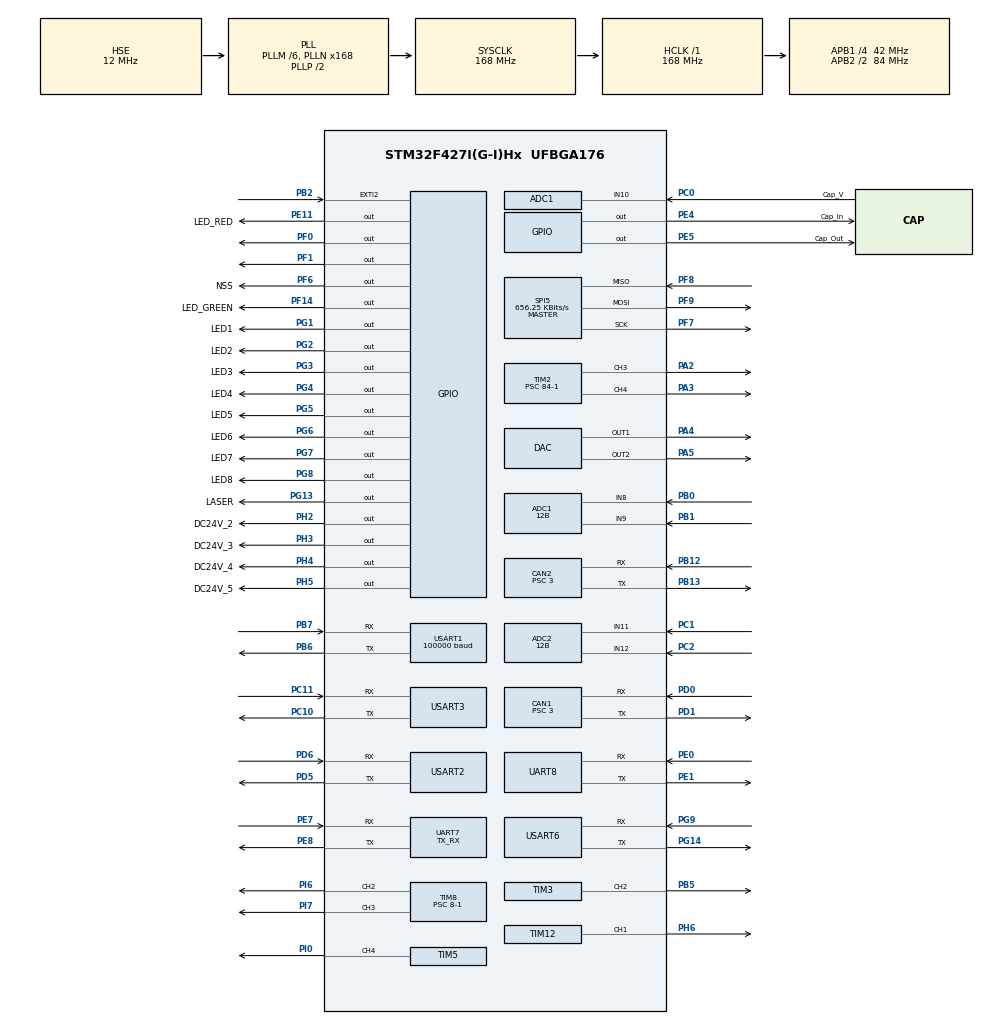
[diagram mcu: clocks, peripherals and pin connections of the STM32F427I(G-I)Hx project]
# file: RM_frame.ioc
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ADC1.Channel-0\#ChannelRegularConversion=ADC_CHANNEL_VREFINT
ADC1.Channel-1\#ChannelRegularConversion=ADC_CHANNEL_8
ADC1.Channel-2\#ChannelRegularConversion=ADC_CHANNEL_9
ADC1.Channel-3\#ChannelRegularConversion=ADC_CHANNEL_10
ADC1.ClockPrescaler=ADC_CLOCK_SYNC_PCLK_DIV4
ADC1.ContinuousConvMode=ENABLE
ADC1.DMAContinuousRequests=ENABLE
ADC1.DataAlign=ADC_DATAALIGN_RIGHT
ADC1.DiscontinuousConvMode=DISABLE
ADC1.EOCSelection=ADC_EOC_SINGLE_CONV
ADC1.EnableAnalogWatchDog=false
ADC1.ExternalTrigConv=ADC_SOFTWARE_START
ADC1.ExternalTrigConvEdge=ADC_EXTERNALTRIGCONVEDGE_NONE
ADC1.InjNumberOfConversion=0
ADC1.NbrOfConversion=4
ADC1.NbrOfConversionFlag=1
ADC1.Rank-0\#ChannelRegularConversion=1
ADC1.Rank-1\#ChannelRegularConversion=2
ADC1.Rank-2\#ChannelRegularConversion=3
ADC1.Rank-3\#ChannelRegularConversion=4
ADC1.Resolution=ADC_RESOLUTION_12B
ADC1.SamplingTime-0\#ChannelRegularConversion=ADC_SAMPLETIME_56CYCLES
ADC1.SamplingTime-1\#ChannelRegularConversion=ADC_SAMPLETIME_56CYCLES
ADC1.SamplingTime-2\#ChannelRegularConversion=ADC_SAMPLETIME_56CYCLES
ADC1.SamplingTime-3\#ChannelRegularConversion=ADC_SAMPLETIME_56CYCLES
ADC1.ScanConvMode=ENABLE
ADC1.master=1
ADC2.Channel-4\#ChannelRegularConversion=ADC_CHANNEL_12
ADC2.Channel-5\#ChannelRegularConversion=ADC_CHANNEL_11
ADC2.ClockPrescaler=ADC_CLOCK_SYNC_PCLK_DIV4
ADC2.ContinuousConvMode=ENABLE
ADC2.DMAContinuousRequests=ENABLE
ADC2.DataAlign=ADC_DATAALIGN_RIGHT
ADC2.DiscontinuousConvMode=DISABLE
ADC2.EOCSelection=ADC_EOC_SINGLE_CONV
ADC2.EnableAnalogWatchDog=false
ADC2.ExternalTrigConv=ADC_SOFTWARE_START
ADC2.ExternalTrigConvEdge=ADC_EXTERNALTRIGCONVEDGE_NONE
ADC2.InjNumberOfConversion=0
ADC2.NbrOfConversion=2
ADC2.NbrOfConversionFlag=1
ADC2.Rank-4\#ChannelRegularConversion=1
ADC2.Rank-5\#ChannelRegularConversion=2
ADC2.Resolution=ADC_RESOLUTION_12B
ADC2.SamplingTime-4\#ChannelRegularConversion=ADC_SAMPLETIME_3CYCLES
ADC2.SamplingTime-5\#ChannelRegularConversion=ADC_SAMPLETIME_3CYCLES
ADC2.ScanConvMode=ENABLE
CAN1.BS1=CAN_BS1_9TQ
CAN1.BS2=CAN_BS2_4TQ
CAN1.CalculateTimeBit=1000
CAN1.CalculateTimeQuantum=71.42857142857143
CAN1.Prescaler=3
CAN2.BS1=CAN_BS1_9TQ
CAN2.BS2=CAN_BS2_4TQ
CAN2.CalculateTimeBit=1000
CAN2.CalculateTimeQuantum=71.42857142857143
CAN2.Prescaler=3
Dma.ADC1.6.Direction=DMA_PERIPH_TO_MEMORY
Dma.ADC1.6.FIFOMode=DMA_FIFOMODE_DISABLE
Dma.ADC1.6.Instance=DMA2_Stream0
Dma.ADC1.6.MemDataAlignment=DMA_MDATAALIGN_HALFWORD
Dma.ADC1.6.MemInc=DMA_MINC_ENABLE
Dma.ADC1.6.Mode=DMA_CIRCULAR
Dma.ADC1.6.PeriphDataAlignment=DMA_PDATAALIGN_HALFWORD
Dma.ADC1.6.PeriphInc=DMA_PINC_DISABLE
Dma.ADC1.6.Priority=DMA_PRIORITY_LOW
Dma.ADC2.5.Direction=DMA_PERIPH_TO_MEMORY
Dma.ADC2.5.FIFOMode=DMA_FIFOMODE_DISABLE
Dma.ADC2.5.Instance=DMA2_Stream3
Dma.ADC2.5.MemDataAlignment=DMA_MDATAALIGN_WORD
Dma.ADC2.5.MemInc=DMA_MINC_ENABLE
Dma.ADC2.5.Mode=DMA_CIRCULAR
Dma.ADC2.5.PeriphDataAlignment=DMA_PDATAALIGN_WORD
Dma.ADC2.5.PeriphInc=DMA_PINC_DISABLE
Dma.ADC2.5.Priority=DMA_PRIORITY_LOW
Dma.Request0=USART3_RX
Dma.Request1=USART2_RX
Dma.Request2=USART6_RX
Dma.Request3=USART6_TX
Dma.Request4=USART1_RX
Dma.Request5=ADC2
Dma.Request6=ADC1
Dma.USART1_RX.4.Direction=DMA_PERIPH_TO_MEMORY
Dma.USART1_RX.4.FIFOMode=DMA_FIFOMODE_DISABLE
Dma.USART1_RX.4.Instance=DMA2_Stream2
Dma.USART1_RX.4.MemDataAlignment=DMA_MDATAALIGN_BYTE
Dma.USART1_RX.4.MemInc=DMA_MINC_ENABLE
Dma.USART1_RX.4.Mode=DMA_NORMAL
Dma.USART1_RX.4.PeriphDataAlignment=DMA_PDATAALIGN_BYTE
Dma.USART1_RX.4.PeriphInc=DMA_PINC_DISABLE
Dma.USART1_RX.4.Priority=DMA_PRIORITY_LOW
Dma.USART2_RX.1.Direction=DMA_PERIPH_TO_MEMORY
Dma.USART2_RX.1.FIFOMode=DMA_FIFOMODE_DISABLE
Dma.USART2_RX.1.Instance=DMA1_Stream5
Dma.USART2_RX.1.MemDataAlignment=DMA_MDATAALIGN_BYTE
Dma.USART2_RX.1.MemInc=DMA_MINC_ENABLE
Dma.USART2_RX.1.Mode=DMA_NORMAL
Dma.USART2_RX.1.PeriphDataAlignment=DMA_PDATAALIGN_BYTE
Dma.USART2_RX.1.PeriphInc=DMA_PINC_DISABLE
Dma.USART2_RX.1.Priority=DMA_PRIORITY_LOW
Dma.USART3_RX.0.Direction=DMA_PERIPH_TO_MEMORY
Dma.USART3_RX.0.FIFOMode=DMA_FIFOMODE_DISABLE
Dma.USART3_RX.0.Instance=DMA1_Stream1
Dma.USART3_RX.0.MemDataAlignment=DMA_MDATAALIGN_BYTE
Dma.USART3_RX.0.MemInc=DMA_MINC_ENABLE
Dma.USART3_RX.0.Mode=DMA_NORMAL
Dma.USART3_RX.0.PeriphDataAlignment=DMA_PDATAALIGN_BYTE
Dma.USART3_RX.0.PeriphInc=DMA_PINC_DISABLE
Dma.USART3_RX.0.Priority=DMA_PRIORITY_LOW
Dma.USART6_RX.2.Direction=DMA_PERIPH_TO_MEMORY
Dma.USART6_RX.2.FIFOMode=DMA_FIFOMODE_DISABLE
Dma.USART6_RX.2.Instance=DMA2_Stream1
Dma.USART6_RX.2.MemDataAlignment=DMA_MDATAALIGN_BYTE
Dma.USART6_RX.2.MemInc=DMA_MINC_ENABLE
Dma.USART6_RX.2.Mode=DMA_NORMAL
Dma.USART6_RX.2.PeriphDataAlignment=DMA_PDATAALIGN_BYTE
Dma.USART6_RX.2.PeriphInc=DMA_PINC_DISABLE
Dma.USART6_RX.2.Priority=DMA_PRIORITY_LOW
Dma.USART6_TX.3.Direction=DMA_MEMORY_TO_PERIPH
Dma.USART6_TX.3.FIFOMode=DMA_FIFOMODE_DISABLE
Dma.USART6_TX.3.Instance=DMA2_Stream6
Dma.USART6_TX.3.MemDataAlignment=DMA_MDATAALIGN_BYTE
Dma.USART6_TX.3.MemInc=DMA_MINC_ENABLE
Dma.USART6_TX.3.Mode=DMA_NORMAL
Dma.USART6_TX.3.PeriphDataAlignment=DMA_PDATAALIGN_BYTE
Dma.USART6_TX.3.PeriphInc=DMA_PINC_DISABLE
Dma.USART6_TX.3.Priority=DMA_PRIORITY_LOW
IWDG.Prescaler=IWDG_PRESCALER_32
IWDG.Reload=1000
Mcu.Family=STM32F4
Mcu.Name=STM32F427I(G-I)Hx
Mcu.Package=UFBGA176
NVIC.ADC_IRQn=true\:0\:0\:false\:false\:true\:true\:true
NVIC.CAN1_RX0_IRQn=true\:0\:0\:true\:false\:true\:true\:true
NVIC.CAN1_TX_IRQn=true\:0\:0\:true\:false\:true\:true\:true
NVIC.CAN2_RX0_IRQn=true\:1\:0\:true\:false\:true\:true\:true
NVIC.CAN2_TX_IRQn=true\:2\:0\:true\:false\:true\:true\:true
NVIC.DMA1_Stream1_IRQn=true\:0\:0\:false\:false\:true\:false\:true
NVIC.DMA1_Stream5_IRQn=true\:0\:0\:false\:false\:true\:false\:true
NVIC.DMA2_Stream0_IRQn=true\:0\:0\:false\:false\:true\:false\:true
NVIC.DMA2_Stream1_IRQn=true\:0\:0\:false\:false\:true\:false\:true
NVIC.DMA2_Stream2_IRQn=true\:0\:0\:false\:false\:true\:false\:true
NVIC.DMA2_Stream3_IRQn=true\:0\:0\:false\:false\:true\:false\:true
NVIC.DMA2_Stream6_IRQn=true\:0\:0\:false\:false\:true\:false\:true
NVIC.EXTI2_IRQn=true\:0\:0\:false\:false\:true\:true\:true
NVIC.PriorityGroup=NVIC_PRIORITYGROUP_4
NVIC.TIM1_UP_TIM10_IRQn=true\:4\:0\:true\:false\:true\:true\:true
NVIC.TIM6_DAC_IRQn=true\:3\:0\:true\:false\:true\:true\:true
NVIC.TIM7_IRQn=true\:0\:0\:true\:false\:true\:true\:true
NVIC.UART7_IRQn=true\:4\:0\:true\:false\:true\:true\:true
NVIC.UART8_IRQn=true\:4\:0\:true\:false\:true\:true\:true
NVIC.USART1_IRQn=true\:0\:0\:true\:false\:true\:true\:true
NVIC.USART2_IRQn=true\:0\:0\:false\:false\:true\:true\:true
NVIC.USART3_IRQn=true\:0\:0\:false\:false\:true\:true\:true
NVIC.USART6_IRQn=true\:1\:0\:true\:false\:true\:true\:true
PA1.Signal=ADCx_IN1
PA2.Signal=S_TIM2_CH3
PA3.Signal=S_TIM2_CH4
PA4.Signal=COMP_DAC1_group
PA5.Signal=COMP_DAC2_group
PB0.Signal=ADCx_IN8
PB1.Signal=ADCx_IN9
PB12.Mode=Slave
PB12.Signal=CAN2_RX
PB13.Mode=Slave
PB13.Signal=CAN2_TX
PB2/BOOT1.Signal=GPXTI2
PB5.Signal=S_TIM3_CH2
PB6.Mode=Asynchronous
PB6.Signal=USART1_TX
PB7.Mode=Asynchronous
PB7.Signal=USART1_RX
PC0.GPIO_Label=Cap_V
PC0.Signal=ADCx_IN10
PC1.Signal=ADCx_IN11
PC10.Mode=Asynchronous
PC10.Signal=USART3_TX
PC11.Mode=Asynchronous
PC11.Signal=USART3_RX
PC14/OSC32_IN.Mode=LSE-External-Oscillator
PC14/OSC32_IN.Signal=RCC_OSC32_IN
PC15/OSC32_OUT.Mode=LSE-External-Oscillator
PC15/OSC32_OUT.Signal=RCC_OSC32_OUT
PC2.Signal=ADCx_IN12
PD0.Mode=Master
PD0.Signal=CAN1_RX
PD1.Mode=Master
PD1.Signal=CAN1_TX
PD5.Mode=Asynchronous
PD5.Signal=USART2_TX
PD6.Mode=Asynchronous
PD6.Signal=USART2_RX
PE0.Mode=Asynchronous
PE0.Signal=UART8_RX
PE1.Mode=Asynchronous
PE1.Signal=UART8_TX
PE11.GPIO_Label=LED_RED
PE11.Signal=GPIO_Output
PE4.GPIO_Label=Cap_In
PE4.GPIO_PuPd=GPIO_PULLDOWN
PE4.GPIO_Speed=GPIO_SPEED_FREQ_HIGH
PE4.PinState=GPIO_PIN_RESET
PE4.Signal=GPIO_Output
PE5.GPIO_Label=Cap_Out
PE5.Signal=GPIO_Output
PE7.Mode=Asynchronous
PE7.Signal=UART7_RX
PE8.Mode=Asynchronous
PE8.Signal=UART7_TX
PF0.Signal=GPIO_Output
PF1.GPIO_PuPd=GPIO_NOPULL
PF1.PinState=GPIO_PIN_SET
PF1.Signal=GPIO_Output
PF14.GPIO_Label=LED_GREEN
PF14.Signal=GPIO_Output
PF6.GPIO_Label=NSS
PF6.Signal=GPIO_Output
PF7.Mode=Full_Duplex_Master
PF7.Signal=SPI5_SCK
PF8.Mode=Full_Duplex_Master
PF8.Signal=SPI5_MISO
PF9.Mode=Full_Duplex_Master
PF9.Signal=SPI5_MOSI
PG1.GPIO_Label=LED1
PG1.Signal=GPIO_Output
PG13.GPIO_Label=LASER
PG13.Signal=GPIO_Output
PG14.Mode=Asynchronous
PG14.Signal=USART6_TX
PG2.GPIO_Label=LED2
PG2.Signal=GPIO_Output
PG3.GPIO_Label=LED3
PG3.Signal=GPIO_Output
PG4.GPIO_Label=LED4
PG4.Signal=GPIO_Output
PG5.GPIO_Label=LED5
PG5.Signal=GPIO_Output
PG6.GPIO_Label=LED6
PG6.Signal=GPIO_Output
PG7.GPIO_Label=LED7
PG7.Signal=GPIO_Output
PG8.GPIO_Label=LED8
PG8.Signal=GPIO_Output
PG9.Mode=Asynchronous
PG9.Signal=USART6_RX
PH0/OSC_IN.Mode=HSE-External-Oscillator
PH0/OSC_IN.Signal=RCC_OSC_IN
PH1/OSC_OUT.Mode=HSE-External-Oscillator
PH1/OSC_OUT.Signal=RCC_OSC_OUT
PH2.GPIO_Label=DC24V_2
PH2.Signal=GPIO_Output
PH3.GPIO_Label=DC24V_3
PH3.Signal=GPIO_Output
PH4.GPIO_Label=DC24V_4
PH4.Signal=GPIO_Output
PH5.GPIO_Label=DC24V_5
PH5.Signal=GPIO_Output
PH6.Signal=S_TIM12_CH1
PI0.Signal=S_TIM5_CH4
PI6.Signal=S_TIM8_CH2
PI7.Signal=S_TIM8_CH3
ProjectManager.HeapSize=0x200
ProjectManager.StackSize=0x400
ProjectManager.TargetToolchain=SW4STM32
RCC.48MHZClocksFreq_Value=84000000
RCC.AHBFreq_Value=168000000
RCC.APB1CLKDivider=RCC_HCLK_DIV4
RCC.APB1Freq_Value=42000000
RCC.APB1TimFreq_Value=84000000
RCC.APB2CLKDivider=RCC_HCLK_DIV2
RCC.APB2Freq_Value=84000000
RCC.APB2TimFreq_Value=168000000
RCC.CortexFreq_Value=168000000
RCC.HCLKFreq_Value=168000000
RCC.HSE_VALUE=12000000
RCC.HSI_VALUE=16000000
RCC.PLLM=6
RCC.PLLN=168
RCC.PLLSourceVirtual=RCC_PLLSOURCE_HSE
RCC.SYSCLKFreq_VALUE=168000000
RCC.SYSCLKSource=RCC_SYSCLKSOURCE_PLLCLK
RCC.VCOOutputFreq_Value=336000000
SH.ADCx_IN1.0=ADC2_IN1
SH.ADCx_IN10.0=ADC1_IN10,IN10
SH.ADCx_IN11.0=ADC2_IN11,IN11
SH.ADCx_IN12.0=ADC2_IN12,IN12
SH.ADCx_IN8.0=ADC1_IN8,IN8
SH.ADCx_IN9.0=ADC1_IN9,IN9
SH.COMP_DAC1_group.0=DAC_OUT1,DAC_OUT1
SH.COMP_DAC2_group.0=DAC_OUT2,DAC_OUT2
SH.S_TIM12_CH1.0=TIM12_CH1,PWM Generation1 CH1
SH.S_TIM2_CH3.0=TIM2_CH3,PWM Generation3 CH3
SH.S_TIM2_CH4.0=TIM2_CH4,PWM Generation4 CH4
SH.S_TIM3_CH2.0=TIM3_CH2,PWM Generation2 CH2
SH.S_TIM5_CH4.0=TIM5_CH4,PWM Generation4 CH4
SH.S_TIM8_CH2.0=TIM8_CH2,PWM Generation2 CH2
SH.S_TIM8_CH3.0=TIM8_CH3,PWM Generation3 CH3
SPI5.BaudRatePrescaler=SPI_BAUDRATEPRESCALER_128
SPI5.CalculateBaudRate=656.25 KBits/s
SPI5.Direction=SPI_DIRECTION_2LINES
SPI5.Mode=SPI_MODE_MASTER
SPI5.VirtualType=VM_MASTER
TIM10.Period=10000
TIM10.Prescaler=168-1
TIM12.Channel-PWM\ Generation1\ CH1=TIM_CHANNEL_1
TIM12.Period=2500-1
TIM12.Prescaler=84-1
TIM12.Pulse-PWM\ Generation1\ CH1=1000
TIM2.Channel-PWM\ Generation2\ CH2=TIM_CHANNEL_2
TIM2.Channel-PWM\ Generation3\ CH3=TIM_CHANNEL_3
TIM2.Channel-PWM\ Generation4\ CH4=TIM_CHANNEL_4
TIM2.Period=19000 - 1
TIM2.Prescaler=84-1
TIM3.Channel-PWM\ Generation2\ CH2=TIM_CHANNEL_2
TIM5.Channel-PWM\ Generation4\ CH4=TIM_CHANNEL_4
TIM5.Period=1000000
TIM5.Prescaler=84-1
TIM5.Pulse-PWM\ Generation4\ CH4=1000
TIM6.Period=1000
TIM6.Prescaler=84-1
TIM7.Period=1000
TIM7.Prescaler=84-1
TIM8.Channel-PWM\ Generation2\ CH2=TIM_CHANNEL_2
TIM8.Channel-PWM\ Generation3\ CH3=TIM_CHANNEL_3
TIM8.Period=42000-1
TIM8.Prescaler=8-1
UART7.Mode=MODE_TX_RX
UART7.OverSampling=UART_OVERSAMPLING_16
UART7.VirtualMode=Asynchronous
UART7.WordLength=WORDLENGTH_8B
UART8.VirtualMode=Asynchronous
USART1.BaudRate=100000
USART1.Mode=MODE_RX
USART1.Parity=PARITY_EVEN
USART1.VirtualMode=VM_ASYNC
USART1.WordLength=WORDLENGTH_9B
USART2.VirtualMode=VM_ASYNC
USART3.VirtualMode=VM_ASYNC
USART6.VirtualMode=VM_ASYNC
VP_ADC1_Vref_Input.Mode=IN-Vrefint
VP_IWDG_VS_IWDG.Mode=IWDG_Activate
VP_TIM10_VS_ClockSourceINT.Mode=Enable_Timer
VP_TIM12_VS_ClockSourceINT.Mode=Internal
VP_TIM2_VS_ClockSourceINT.Mode=Internal
VP_TIM6_VS_ClockSourceINT.Mode=Enable_Timer
VP_TIM7_VS_ClockSourceINT.Mode=Enable_Timer
board=RM_frame

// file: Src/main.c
/**
  ******************************************************************************
  * File Name          : main.c
  * Description        : Main program body
  ******************************************************************************
  ** This notice applies to any and all portions of this file
  * that are not between comment pairs USER CODE BEGIN and
  * USER CODE END. Other portions of this file, whether
  * inserted by the user or by software development tools
  * are owned by their respective copyright owners.
  *
  * COPYRIGHT(c) 2020 STMicroelectronics
  *
  * Redistribution and use in source and binary forms, with or without modification,
  * are permitted provided that the following conditions are met:
  *   1. Redistributions of source code must retain the above copyright notice,
  *      this list of conditions and the following disclaimer.
  *   2. Redistributions in binary form must reproduce the above copyright notice,
  *      this list of conditions and the following disclaimer in the documentation
  *      and/or other materials provided with the distribution.
  *   3. Neither the name of STMicroelectronics nor the names of its contributors
  *      may be used to endorse or promote products derived from this software
  *      without specific prior written permission.
  *
  * THIS SOFTWARE IS PROVIDED BY THE COPYRIGHT HOLDERS AND CONTRIBUTORS "AS IS"
  * AND ANY EXPRESS OR IMPLIED WARRANTIES, INCLUDING, BUT NOT LIMITED TO, THE
  * IMPLIED WARRANTIES OF MERCHANTABILITY AND FITNESS FOR A PARTICULAR PURPOSE ARE
  * DISCLAIMED. IN NO EVENT SHALL THE COPYRIGHT HOLDER OR CONTRIBUTORS BE LIABLE
  * FOR ANY DIRECT, INDIRECT, INCIDENTAL, SPECIAL, EXEMPLARY, OR CONSEQUENTIAL
  * DAMAGES (INCLUDING, BUT NOT LIMITED TO, PROCUREMENT OF SUBSTITUTE GOODS OR
  * SERVICES; LOSS OF USE, DATA, OR PROFITS; OR BUSINESS INTERRUPTION) HOWEVER
  * CAUSED AND ON ANY THEORY OF LIABILITY, WHETHER IN CONTRACT, STRICT LIABILITY,
  * OR TORT (INCLUDING NEGLIGENCE OR OTHERWISE) ARISING IN ANY WAY OUT OF THE USE
  * OF THIS SOFTWARE, EVEN IF ADVISED OF THE POSSIBILITY OF SUCH DAMAGE.
  *
  ******************************************************************************
  */

#include "main.h"
#include "stm32f4xx_hal.h"
#include "adc.h"
#include "can.h"
#include "dac.h"
#include "dma.h"
#include "iwdg.h"
#include "spi.h"
#include "tim.h"
#include "usart.h"
#include "gpio.h"

/* USER CODE BEGIN Includes */
#include "includes.h"
/* USER CODE END Includes */

/* USER CODE BEGIN PV */
uint32_t ADC_value[80]={0};
/* Private variables ---------------------------------------------------------*/

/* USER CODE END PV */

void SystemClock_Config(void);

/* USER CODE BEGIN PFP */
/* Private function prototypes -----------------------------------------------*/

/* USER CODE END PFP */

int main(void)
{

  /* MCU Configuration----------------------------------------------------------*/

  /* Reset of all peripherals, Initializes the Flash interface and the Systick. */
  HAL_Init();

  /* Configure the system clock */
  SystemClock_Config();

  /* USER CODE BEGIN SysInit */
	HAL_NVIC_DisableIRQ(USART2_IRQn);
	HAL_NVIC_DisableIRQ(USART3_IRQn);
	HAL_NVIC_DisableIRQ(USART6_IRQn);
	HAL_NVIC_DisableIRQ(DMA1_Stream1_IRQn);
	HAL_NVIC_DisableIRQ(DMA1_Stream5_IRQn);
	HAL_NVIC_DisableIRQ(DMA2_Stream1_IRQn);

	HAL_NVIC_DisableIRQ(CAN1_RX0_IRQn);
	HAL_NVIC_DisableIRQ(CAN2_RX0_IRQn);
	HAL_NVIC_DisableIRQ(USART1_IRQn);
	HAL_NVIC_DisableIRQ(DMA2_Stream2_IRQn);
	HAL_NVIC_DisableIRQ(TIM7_IRQn);
	HAL_NVIC_DisableIRQ(TIM6_DAC_IRQn);
  /* USER CODE END SysInit */

  /* Initialize all configured peripherals */
  MX_GPIO_Init();
  MX_DMA_Init();
  MX_CAN1_Init();
  MX_CAN2_Init();
  MX_SPI5_Init();
  MX_USART1_UART_Init();
  MX_TIM6_Init();
  MX_TIM12_Init();
  MX_USART6_UART_Init();
  MX_TIM7_Init();
  MX_TIM10_Init();
  MX_TIM2_Init();
  MX_IWDG_Init();
  MX_TIM5_Init();
  MX_USART3_UART_Init();
  MX_UART7_Init();
  MX_ADC1_Init();
  MX_UART8_Init();
  MX_USART2_UART_Init();
  MX_TIM8_Init();
  MX_TIM3_Init();
  MX_DAC_Init();
  MX_ADC2_Init();

  /* USER CODE BEGIN 2 */
	/*****陀螺仪初始化*****/
	mpu_device_init();
	init_quaternion();
	/*****陀螺仪初始化结束*****/
	MX_IWDG_Init();
	//24V直流电源配置
	#ifdef BOARD_MAIN
		ENABLE_DC24V_2();
		ENABLE_DC24V_3();
		ENABLE_DC24V_4();
		ENABLE_DC24V_5();
	#endif
	#ifdef BOARD_SLAVE
		ENABLE_DC24V_2();
		ENABLE_DC24V_3();
		ENABLE_DC24V_4();
		ENABLE_DC24V_5();
	#endif
	//各模块初始化
	InitRemoteControl();
	Motor_ID_Setting();
	for(int i=0;i<8;i++) {InitMotor(can1[i]);InitMotor(can2[i]);}
	InitPWM();
	InitCanReception();
	//InitJudgeUart();
	#ifdef USE_AUTOAIM
		InitAutoAim();
	#endif
	HAL_TIM_Base_Start_IT(&htim6);
	HAL_TIM_Base_Start_IT(&htim7);
	HAL_TIM_PWM_Start(&htim2, TIM_CHANNEL_3);
	HAL_TIM_PWM_Start(&htim2, TIM_CHANNEL_4);
	Cap_Init();
	//ADC
	HAL_ADC_Start_DMA(&hadc2,ADC_value,80);

	//时间中断
	HAL_NVIC_EnableIRQ(CAN1_RX0_IRQn);
	HAL_NVIC_EnableIRQ(CAN2_RX0_IRQn);
	HAL_NVIC_EnableIRQ(USART1_IRQn);
	HAL_NVIC_EnableIRQ(DMA2_Stream2_IRQn);
	HAL_NVIC_EnableIRQ(TIM6_DAC_IRQn);
	HAL_NVIC_EnableIRQ(TIM7_IRQn);
  /* USER CODE END 2 */

  /* Infinite loop */
  /* USER CODE BEGIN WHILE */
  while (1)
  {
		RefreshADC();
  /* USER CODE END WHILE */

  }

}

/** System Clock Configuration
*/
void SystemClock_Config(void)
{

  RCC_OscInitTypeDef RCC_OscInitStruct;
  RCC_ClkInitTypeDef RCC_ClkInitStruct;

    /**Configure the main internal regulator output voltage
    */
  __HAL_RCC_PWR_CLK_ENABLE();

  __HAL_PWR_VOLTAGESCALING_CONFIG(PWR_REGULATOR_VOLTAGE_SCALE1);

    /**Initializes the CPU, AHB and APB busses clocks
    */
  RCC_OscInitStruct.OscillatorType = RCC_OSCILLATORTYPE_LSI|RCC_OSCILLATORTYPE_HSE;
  RCC_OscInitStruct.HSEState = RCC_HSE_ON;
  RCC_OscInitStruct.LSIState = RCC_LSI_ON;
  RCC_OscInitStruct.PLL.PLLState = RCC_PLL_ON;
  RCC_OscInitStruct.PLL.PLLSource = RCC_PLLSOURCE_HSE;
  RCC_OscInitStruct.PLL.PLLM = 6;
  RCC_OscInitStruct.PLL.PLLN = 168;
  RCC_OscInitStruct.PLL.PLLP = RCC_PLLP_DIV2;
  RCC_OscInitStruct.PLL.PLLQ = 4;
  if (HAL_RCC_OscConfig(&RCC_OscInitStruct) != HAL_OK)
  {
    _Error_Handler(__FILE__, __LINE__);
  }

    /**Initializes the CPU, AHB and APB busses clocks
    */
  RCC_ClkInitStruct.ClockType = RCC_CLOCKTYPE_HCLK|RCC_CLOCKTYPE_SYSCLK
                              |RCC_CLOCKTYPE_PCLK1|RCC_CLOCKTYPE_PCLK2;
  RCC_ClkInitStruct.SYSCLKSource = RCC_SYSCLKSOURCE_PLLCLK;
  RCC_ClkInitStruct.AHBCLKDivider = RCC_SYSCLK_DIV1;
  RCC_ClkInitStruct.APB1CLKDivider = RCC_HCLK_DIV4;
  RCC_ClkInitStruct.APB2CLKDivider = RCC_HCLK_DIV2;

  if (HAL_RCC_ClockConfig(&RCC_ClkInitStruct, FLASH_LATENCY_5) != HAL_OK)
  {
    _Error_Handler(__FILE__, __LINE__);
  }

    /**Configure the Systick interrupt time
    */
  HAL_SYSTICK_Config(HAL_RCC_GetHCLKFreq()/1000);

    /**Configure the Systick
    */
  HAL_SYSTICK_CLKSourceConfig(SYSTICK_CLKSOURCE_HCLK);

  /* SysTick_IRQn interrupt configuration */
  HAL_NVIC_SetPriority(SysTick_IRQn, 0, 0);
}

void _Error_Handler(char * file, int line)
{
  while(1)
  {
  }
}

/************************ (C) COPYRIGHT STMicroelectronics *****END OF FILE****/
